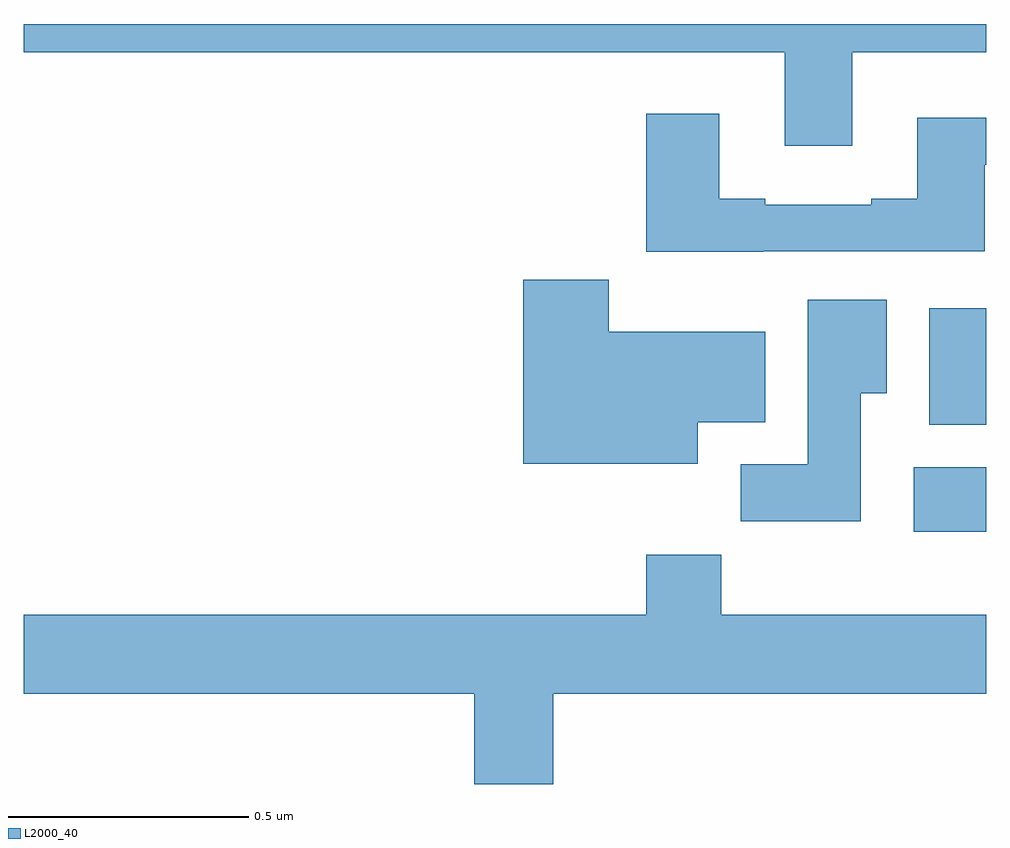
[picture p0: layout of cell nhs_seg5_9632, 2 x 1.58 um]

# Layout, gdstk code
import gdstk
lib = gdstk.Library(unit=1e-6, precision=1e-09)
def R(c, l, rs):  # rectangles x0, y0, x1, y1
    for r in rs: c.add(gdstk.rectangle(r[:2], r[2:], *l))
def P(c, l, *ps):  # polygons
    for p in ps: c.add(gdstk.Polygon(p, *l))
L2000_40 = (2000, 40)

nhs_seg5_9632 = lib.new_cell('nhs_seg5_9632')
R(nhs_seg5_9632, L2000_40, [(237.849,875.744,238,875.878), (237.881,875.966,238,876.208)])
P(nhs_seg5_9632, L2000_40, [(237.721,876.74),(238,876.74),(238,876.799),(236,876.799),(236,876.74),(237.581,876.74),(237.581,876.546),(237.721,876.546)],
  [(237.537,876.327),(237.997,876.327),(237.997,876.507),(238,876.507),(238,876.604),(237.857,876.604),(237.857,876.436),(237.761,876.436),(237.761,876.423),(237.541,876.423),(237.541,876.436),(237.445,876.436),(237.445,876.613),(237.293,876.613),(237.293,876.326),(237.537,876.326)],
  [(237.4,875.972),(237.541,875.972),(237.541,876.16),(237.216,876.16),(237.216,876.268),(237.038,876.268),(237.038,875.885),(237.4,875.885)],
  [(237.739,876.032),(237.793,876.032),(237.793,876.226),(237.629,876.226),(237.629,875.884),(237.49,875.884),(237.49,875.766),(237.739,875.766)],
  [(237.1,875.408),(238,875.408),(238,875.572),(237.449,875.572),(237.449,875.696),(237.293,875.696),(237.293,875.572),(236,875.572),(236,875.408),(236.936,875.408),(236.936,875.22),(237.1,875.22)])

lib.write_gds('nhs_seg5_9632.gds')
